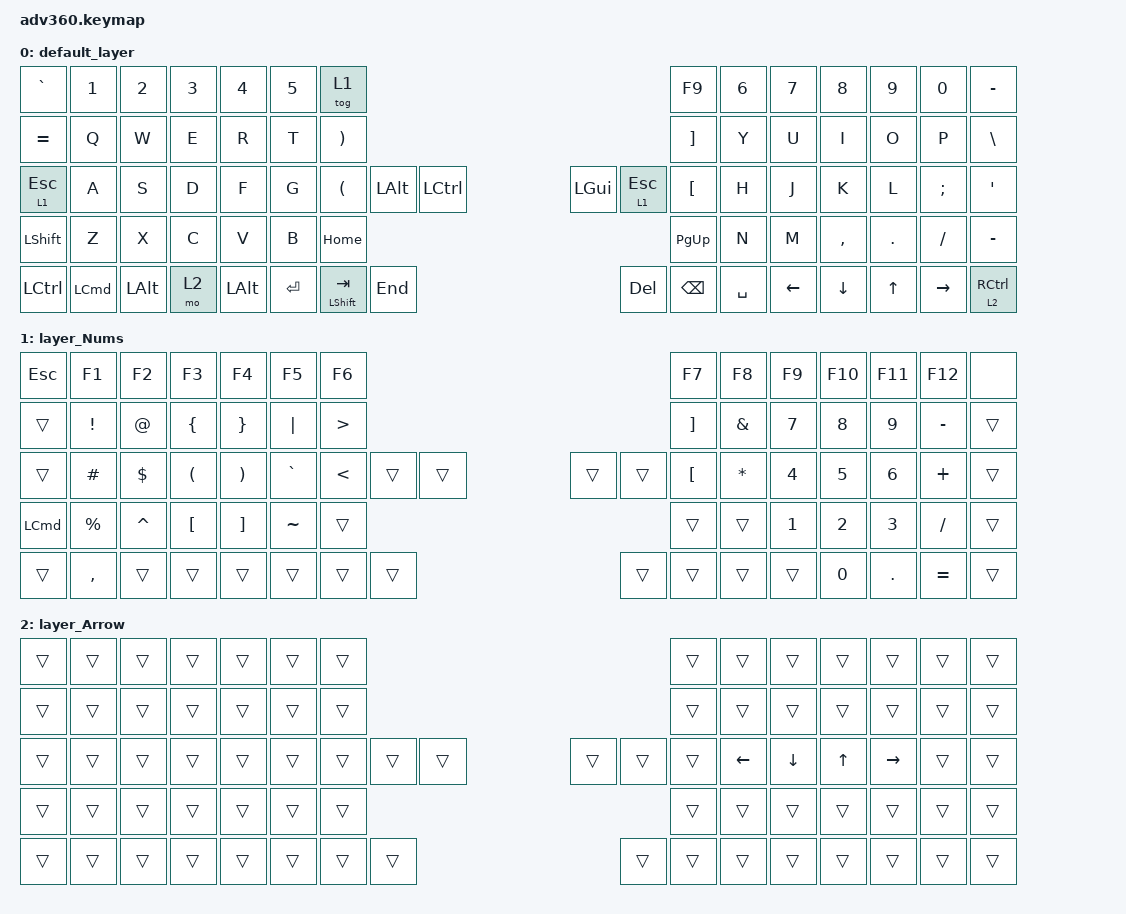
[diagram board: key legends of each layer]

/*
 * Copyright (c) 2020 The ZMK Contributors
 *
 * SPDX-License-Identifier: MIT
 */


/* THIS FILE WAS GENERATED!
 *
 * This file was generated automatically. You may or may not want to
 * edit it directly.
 */

#include <behaviors.dtsi>
#include <dt-bindings/zmk/keys.h>

/ {
  behaviors {
    #include "macros.dtsi"
    #include "version.dtsi"

    hm: homerow_mods {
        compatible = "zmk,behavior-hold-tap";
        label = "HOMEROW_MODS";
        #binding-cells = <2>;
        tapping-term-ms = <200>;
        quick_tap_ms = <175>;
        flavor = "tap-preferred";
        bindings = <&kp>, <&kp>;
    };
  };

    keymap {
        compatible = "zmk,keymap";


        default_layer {
            bindings = <
 &kp GRAVE            &kp N1        &kp N2  &kp N3        &kp N4  &kp N5                           &tog 1                                                                                      &kp F9  &kp N6    &kp N7     &kp N8   &kp N9     &kp N0    &kp MINUS
 &kp EQUAL             &kp Q         &kp W   &kp E         &kp R   &kp T            &kp RIGHT_PARENTHESIS                                                                           &kp RIGHT_BRACKET   &kp Y     &kp U      &kp I    &kp O      &kp P     &kp BSLH
 &lt 1 ESC             &kp A         &kp S   &kp D         &kp F   &kp G             &kp LEFT_PARENTHESIS        &kp LEFT_ALT  &kp LCTRL                   &kp LGUI      &lt 1 ESC   &kp LEFT_BRACKET   &kp H     &kp J      &kp K    &kp L   &kp SEMI      &kp SQT
 &kp LSHFT             &kp Z         &kp X   &kp C         &kp V   &kp B                                                        &kp HOME                  &kp PG_UP                                     &kp N     &kp M  &kp COMMA  &kp DOT   &kp FSLH    &kp MINUS
 &kp LCTRL  &kp LEFT_COMMAND  &kp LEFT_ALT   &mo 2  &kp LEFT_ALT                                &kp ENTER  &mt LEFT_SHIFT TAB    &kp END                    &kp DEL  &kp BACKSPACE          &kp SPACE          &kp LEFT   &kp DOWN   &kp UP  &kp RIGHT  &lt 2 RCTRL
            >;
        };

        layer_Nums {
            bindings = <
          &kp ESC           &kp F1      &kp F2                &kp F3                 &kp F4     &kp F5                      &kp F6                                                             &kp F7         &kp F8        &kp F9       &kp F10       &kp F11    &kp F12   &none
           &trans  &kp EXCLAMATION      &kp AT        &kp LEFT_BRACE        &kp RIGHT_BRACE   &kp PIPE            &kp GREATER_THAN                                                  &kp RIGHT_BRACKET  &kp AMPERSAND  &kp NUMBER_7  &kp NUMBER_8  &kp NUMBER_9  &kp MINUS  &trans
           &trans         &kp HASH  &kp DOLLAR  &kp LEFT_PARENTHESIS  &kp RIGHT_PARENTHESIS  &kp GRAVE               &kp LESS_THAN  &trans  &trans                  &trans  &trans   &kp LEFT_BRACKET   &kp ASTERISK  &kp NUMBER_4  &kp NUMBER_5  &kp NUMBER_6   &kp PLUS  &trans
 &kp LEFT_COMMAND      &kp PERCENT   &kp CARET      &kp LEFT_BRACKET      &kp RIGHT_BRACKET  &kp TILDE                                      &trans                  &trans                                    &trans  &kp NUMBER_1  &kp NUMBER_2  &kp NUMBER_3  &kp SLASH  &trans
           &trans        &kp COMMA      &trans                &trans                 &trans                                 &trans  &trans  &trans                  &trans  &trans             &trans                       &trans  &kp NUMBER_0    &kp PERIOD  &kp EQUAL  &trans
            >;
        };

        layer_Arrow {
            bindings = <
 &trans  &trans  &trans  &trans  &trans  &trans            &trans                                                  &trans    &trans    &trans  &trans     &trans  &trans  &trans
 &trans  &trans  &trans  &trans  &trans  &trans            &trans                                                  &trans    &trans    &trans  &trans     &trans  &trans  &trans
 &trans  &trans  &trans  &trans  &trans  &trans            &trans  &trans  &trans                  &trans  &trans  &trans  &kp LEFT  &kp DOWN  &kp UP  &kp RIGHT  &trans  &trans
 &trans  &trans  &trans  &trans  &trans  &trans                            &trans                  &trans                    &trans    &trans  &trans     &trans  &trans  &trans
 &trans  &trans  &trans  &trans  &trans                    &trans  &trans  &trans                  &trans  &trans  &trans              &trans  &trans     &trans  &trans  &trans
            >;
        };

    };
};
